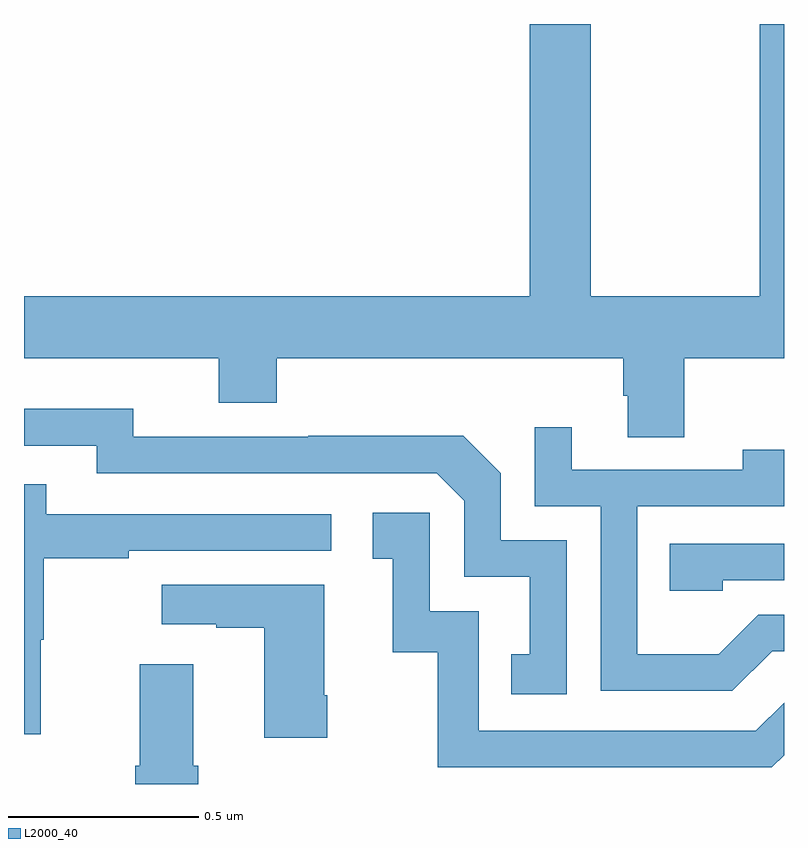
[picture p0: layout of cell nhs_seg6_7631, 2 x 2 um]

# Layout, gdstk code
import gdstk
lib = gdstk.Library(unit=1e-6, precision=1e-09)
def P(c, l, *ps):  # polygons
    for p in ps: c.add(gdstk.Polygon(p, *l))
L2000_40 = (2000, 40)

nhs_seg6_7631 = lib.new_cell('nhs_seg6_7631')
P(nhs_seg6_7631, L2000_40, [(211.577,996.522),(211.589,996.522),(211.589,996.412),(211.737,996.412),(211.737,996.62),(212,996.62),(212,997.5),(211.936,997.5),(211.936,996.784),(211.491,996.784),(211.491,997.5),(211.331,997.5),(211.331,996.784),(210,996.784),(210,996.62),(210.512,996.62),(210.512,996.503),(210.665,996.503),(210.665,996.62),(211.577,996.62)],
  [(211.428,996.141),(211.254,996.141),(211.254,996.318),(211.156,996.416),(210.748,996.416),(210.748,996.414),(210.288,996.414),(210.288,996.487),(210,996.487),(210,996.39),(210.192,996.39),(210.192,996.318),(211.086,996.318),(211.158,996.246),(211.158,996.045),(211.331,996.045),(211.331,995.841),(211.282,995.841),(211.282,995.736),(211.428,995.736)],
  [(211.969,995.85),(212,995.85),(212,995.946),(211.932,995.946),(211.828,995.842),(211.614,995.842),(211.614,996.231),(212,996.231),(212,996.379),(211.892,996.379),(211.892,996.327),(211.441,996.327),(211.441,996.439),(211.344,996.439),(211.344,996.231),(211.518,996.231),(211.518,995.745),(211.864,995.745)],
  [(210.044,995.88),(210.052,995.88),(210.052,996.094),(210.275,996.094),(210.275,996.114),(210.808,996.114),(210.808,996.21),(210.059,996.21),(210.059,996.289),(210,996.289),(210,995.631),(210.044,995.631)],
  [(212,995.576),(212,995.714),(211.926,995.64),(211.197,995.64),(211.197,995.955),(211.068,995.955),(211.068,996.214),(210.918,996.214),(210.918,996.093),(210.971,996.093),(210.971,995.847),(211.089,995.847),(211.089,995.544),(211.968,995.544)],
  [(211.839,996.036),(212,996.036),(212,996.132),(211.699,996.132),(211.699,996.009),(211.839,996.009)],
  [(210.798,995.734),(210.79,995.734),(210.79,996.025),(210.363,996.025),(210.363,995.921),(210.506,995.921),(210.506,995.911),(210.632,995.911),(210.632,995.622),(210.798,995.622)],
  [(210.458,995.548),(210.445,995.548),(210.445,995.815),(210.305,995.815),(210.305,995.548),(210.293,995.548),(210.293,995.5),(210.458,995.5)])

lib.write_gds('nhs_seg6_7631.gds')
